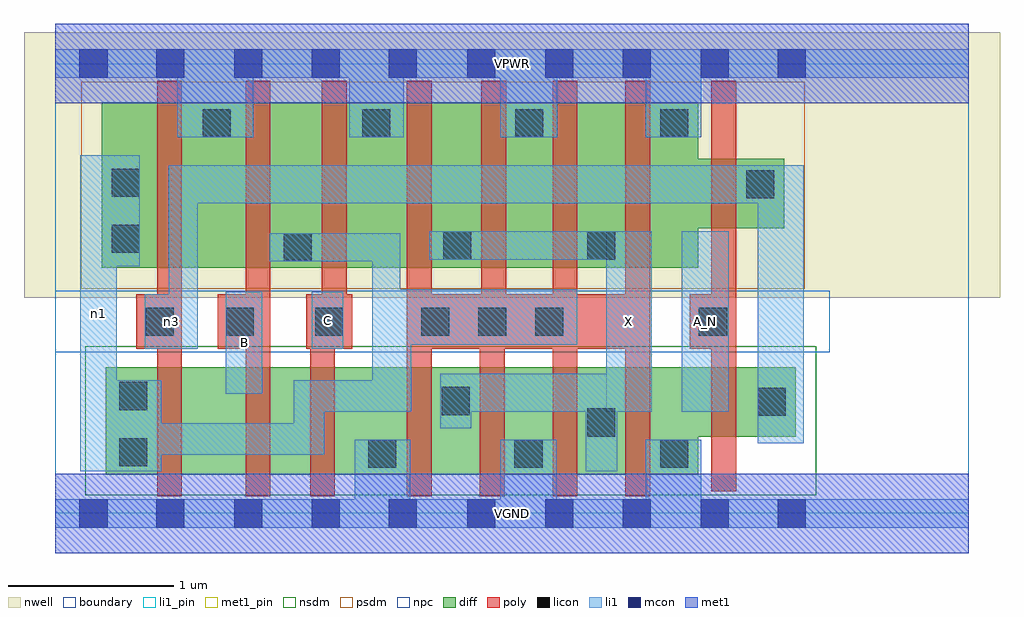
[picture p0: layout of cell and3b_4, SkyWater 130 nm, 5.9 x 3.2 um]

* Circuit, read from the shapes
.subckt and3b_4 A_N B C VGND VPWR X n1 n3
XM1 n2 n3 n1 VSUBS sky130_fd_pr__nfet_01v8 w=0.65 l=0.15
XM2 n4 B n2 VSUBS sky130_fd_pr__nfet_01v8 w=0.65 l=0.15
XM3 VGND C n4 VSUBS sky130_fd_pr__nfet_01v8 w=0.65 l=0.15
XM4 X n1 VGND VSUBS sky130_fd_pr__nfet_01v8 w=0.65 l=0.15 m=4
XM5 n3 A_N VGND VSUBS sky130_fd_pr__nfet_01v8 w=0.42 l=0.15
XM6 VPWR n3 n1 n5 sky130_fd_pr__pfet_01v8 w=1 l=0.15
XM7 n1 B VPWR n5 sky130_fd_pr__pfet_01v8 w=1 l=0.15
XM8 VPWR C n1 n5 sky130_fd_pr__pfet_01v8 w=1 l=0.15
XM9 X n1 VPWR n5 sky130_fd_pr__pfet_01v8 w=1 l=0.15 m=4
XM10 n3 A_N VPWR n5 sky130_fd_pr__pfet_01v8 w=0.42 l=0.15
.ends

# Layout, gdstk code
import gdstk
lib = gdstk.Library(unit=1e-6, precision=1e-09)
def R(c, l, rs):  # rectangles x0, y0, x1, y1
    for r in rs: c.add(gdstk.rectangle(r[:2], r[2:], *l))
def A(c, l, x, y, w, h, nx, ny, dx, dy):  # array of equal rectangles
    R(c, l, [(x+i*dx, y+j*dy, x+i*dx+w, y+j*dy+h) for i in range(nx) for j in range(ny)])
nwell = (64, 20)
diff = (65, 20)
poly = (66, 20)
licon = (66, 44)
li1_pin = (67, 16)
li1 = (67, 20)
mcon = (67, 44)
met1_pin = (68, 16)
met1 = (68, 20)
nsdm = (93, 44)
psdm = (94, 20)
npc = (95, 20)
boundary = (235, 4)

and3b_4 = lib.new_cell('and3b_4')
R(and3b_4, nwell, [(-0.19,1.305,5.71,2.91), (0,1.305,5.52,2.91)])
R(and3b_4, diff, [(0.305,0.235,3.885,0.885), (0.305,0.465,4.475,0.885), (0.28,1.485,3.885,2.485), (0.28,1.725,4.405,2.145)])
R(and3b_4, poly, [(0.615,0.105,0.765,2.615), (1.15,0.105,1.3,2.615), (1.54,0.105,1.69,1.325), (2.125,0.105,2.275,2.615), (2.565,0.105,2.715,1.325), (3.005,0.105,3.155,2.615), (3.445,0.105,3.595,2.615), (3.965,0.135,4.115,2.615), (0.49,0.995,0.765,1.325), (0.98,0.995,1.3,1.325), (1.515,0.995,1.795,1.325), (1.61,0.995,1.76,2.615), (2.125,0.995,3.595,1.325), (2.575,0.995,2.725,2.615), (3.835,0.995,4.115,1.325)])
A(and3b_4, licon, 2.21, 1.075, 0.17, 0.17, 3, 1, 0.345, 0)
R(and3b_4, licon, [(1.89,0.275,2.06,0.445), (2.775,0.275,2.945,0.445), (3.655,0.275,3.825,0.445), (0.385,0.285,0.555,0.455), (3.215,0.465,3.385,0.635), (4.245,0.59,4.415,0.76), (2.335,0.595,2.505,0.765), (0.385,0.625,0.555,0.795), (0.545,1.075,0.715,1.245), (1.03,1.075,1.2,1.245), (1.57,1.075,1.74,1.245), (3.89,1.075,4.06,1.245), (1.38,1.525,1.55,1.695), (2.345,1.535,2.515,1.705), (3.215,1.535,3.385,1.705), (0.34,1.575,0.51,1.745), (4.175,1.905,4.345,2.075), (0.34,1.915,0.51,2.085), (0.89,2.275,1.06,2.445), (1.855,2.275,2.025,2.445), (2.78,2.275,2.95,2.445), (3.655,2.275,3.825,2.445)])
R(and3b_4, li1_pin, [(3.33,0.615,3.605,1.705), (3.785,0.615,4.07,1.705), (1.03,0.725,1.25,1.34), (1.55,0.995,1.74,1.34)])
R(and3b_4, li1, [(0,-0.085,5.52,0.085), (1.81,-0.085,2.145,0.445), (2.69,-0.085,3.03,0.445), (3.57,-0.085,3.905,0.445), (0.15,0.255,0.37,2.165), (0.15,0.255,0.64,0.805), (3.205,0.255,3.395,0.845), (0.15,0.355,1.625,0.545), (1.44,0.355,1.625,0.805), (4.245,0.425,4.525,2.105), (2.325,0.515,2.515,0.845), (1.44,0.615,2.15,0.805), (1.915,0.615,2.085,1.695), (1.915,0.615,2.15,1.355), (2.325,0.615,3.605,0.845), (3.33,0.615,3.605,1.705), (3.785,0.615,4.07,1.705), (1.03,0.725,1.25,1.34), (0.54,0.995,0.86,1.325), (0.685,0.995,0.86,2.105), (1.55,0.995,1.74,1.34), (1.915,1.02,3.155,1.355), (0.15,1.495,0.51,2.165), (1.295,1.525,2.085,1.695), (2.26,1.535,3.605,1.705), (0.685,1.875,4.525,2.105), (0.735,2.275,1.195,2.805), (1.775,2.275,2.105,2.805), (2.69,2.275,3.035,2.805), (3.57,2.275,3.905,2.805), (0,2.635,5.52,2.805)])
A(and3b_4, mcon, 0.61, -0.085, 0.17, 0.17, 3, 2, 0.47, 2.72)
A(and3b_4, mcon, 2.49, -0.085, 0.17, 0.17, 4, 2, 0.47, 2.72)
R(and3b_4, mcon, [(0.145,-0.085,0.315,0.085), (2.015,-0.085,2.185,0.085), (4.365,-0.085,4.535,0.085), (0.145,2.635,0.315,2.805), (2.015,2.635,2.185,2.805), (4.365,2.635,4.535,2.805)])
R(and3b_4, met1_pin, [(0,-0.24,5.52,0.24), (0,2.48,5.52,2.96)])
R(and3b_4, met1, [(0,-0.24,5.52,0.24), (0,2.48,5.52,2.96)])
R(and3b_4, nsdm, [(0.18,0.11,4.6,1.01)])
R(and3b_4, psdm, [(0.155,1.36,4.53,2.61)])
R(and3b_4, npc, [(0,0.975,4.68,1.345)])
R(and3b_4, boundary, [(0,0,5.52,2.72)])
and3b_4.add(gdstk.Label('A_N', (3.927,1.16), layer=67, texttype=5))
and3b_4.add(gdstk.Label('B', (1.14,1.032), layer=67, texttype=5))
and3b_4.add(gdstk.Label('C', (1.645,1.167), layer=67, texttype=5))
and3b_4.add(gdstk.Label('X', (3.467,1.16), layer=67, texttype=5))
and3b_4.add(gdstk.Label('n3', (0.7,1.16), layer=67, texttype=5))
and3b_4.add(gdstk.Label('n1', (0.26,1.21), layer=67, texttype=5))
and3b_4.add(gdstk.Label('VPWR', (2.76,2.72), layer=68, texttype=5))
and3b_4.add(gdstk.Label('VGND', (2.76,0), layer=68, texttype=5))
and3b_4.add(gdstk.Label('A_N', (3.927,1.16), layer=67, texttype=16))
and3b_4.add(gdstk.Label('B', (1.14,1.032), layer=67, texttype=16))
and3b_4.add(gdstk.Label('C', (1.645,1.167), layer=67, texttype=16))
and3b_4.add(gdstk.Label('X', (3.467,1.16), layer=67, texttype=16))
and3b_4.add(gdstk.Label('VPWR', (2.76,2.72), layer=68, texttype=16))
and3b_4.add(gdstk.Label('VGND', (2.76,0), layer=68, texttype=16))

lib.write_gds('and3b_4.gds')
